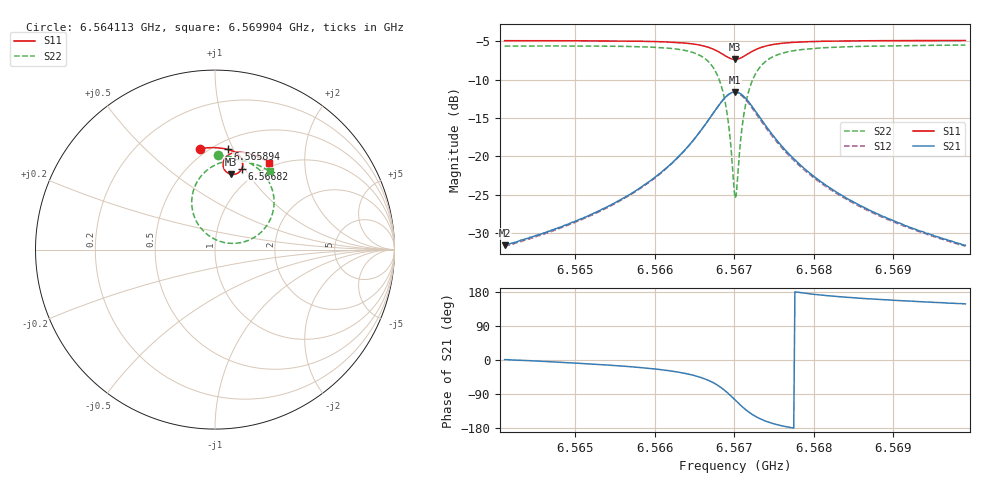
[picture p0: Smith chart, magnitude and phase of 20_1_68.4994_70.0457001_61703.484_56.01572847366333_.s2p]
#  HZ  S  RI  R  50.00
! Rohde & Schwarz Vector Network Analyzer
! Rohde-Schwarz,ZNB20-2Port,1311601062101988,3.16
! Created: UTC 3/20/2024, 5:04:38 PM
! freq[Hz]  re:S11  im:S11  re:S21  im:S21  re:S12  im:S12  re:S22  im:S22
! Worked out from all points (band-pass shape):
!   401 points, 6.564113 GHz to 6.569904 GHz, reference 50 ohm
!   highest |S21| = -11.59 dB at 6.567009 GHz (marker M1); lowest = -31.6 dB at 6.564113 GHz (marker M2)
!   |S21| within 3 dB of the highest: 6.56672 GHz to 6.567298 GHz (578.4 kHz wide, 0.00881 % of centre)
!   lowest |S11| = -7.4 dB at 6.567009 GHz (marker M3), VSWR 2.50, Z = 40.5 + j41.7 ohm
!   |S11| at or under -10 dB: nowhere
!   |S22| runs from -25.5 to -5.5 dB; largest |S21 - S12| = 0.012
!   S11 on the Smith chart (normalised r, x): 6.564113 GHz: 0.45, +0.76; 6.565894 GHz: 0.58, +0.95; 6.56682 GHz: 0.83, +0.97; 6.569904 GHz: 0.94, +1.34
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6.5641134e9  -0.0816 0.5631  0.0262 0.000439  0.0259 0.000209  0.0173 0.5246
6.5650833e9  -0.00315 0.568  0.0388 -0.00611  0.038 -0.00681  0.1063 0.5142
6.5658939e9  0.0699 0.5587  0.0617 -0.0242  0.0607 -0.0249  0.2034 0.4765
6.5660531e9  0.0862 0.5539  0.0694 -0.0321  0.0683 -0.033  0.2283 0.46
6.5663716e9  0.1214 0.5357  0.0893 -0.0624  0.0879 -0.0636  0.2865 0.4004
6.5665887e9  0.1458 0.5089  0.1025 -0.1089  0.1001 -0.1109  0.3249 0.3108
6.566719e9  0.1547 0.4808  0.0982 -0.1581  0.0945 -0.1608  0.3241 0.217
6.5668203e9  0.1497 0.4516  0.0725 -0.2084  0.0661 -0.2112  0.28 0.1223
6.5669072e9  0.1295 0.4276  0.0208 -0.2474  0.0115 -0.2481  0.1864 0.0516
6.5669361e9  0.119 0.4223  -0.00283 -0.2554  -0.0131 -0.2545  0.1437 0.0387
6.566994e9  0.0947 0.4187  -0.0559 -0.2569  -0.0663 -0.2526  0.0498 0.0398
6.5670085e9  0.0885 0.4198  -0.0692 -0.2541  -0.0794 -0.2489  0.0266 0.0463
6.5670375e9  0.0766 0.4238  -0.0945 -0.2445  -0.104 -0.2376  -0.0167 0.0662
6.5670954e9  0.0574 0.4386  -0.1358 -0.2126  -0.1425 -0.2033  -0.0843 0.1267
6.5671388e9  0.0488 0.4534  -0.1559 -0.183  -0.1601 -0.173  -0.1143 0.181
6.5671967e9  0.045 0.4736  -0.1687 -0.1432  -0.1699 -0.1334  -0.1293 0.2521
6.5672691e9  0.0488 0.4955  -0.1686 -0.1003  -0.1676 -0.0922  -0.121 0.3262
6.5675296e9  0.088 0.5343  -0.1262 -0.0218  -0.1236 -0.0182  -0.0252 0.4569
6.5679784e9  0.1465 0.5422  -0.0749 0.0081  -0.0732 0.0092  0.0954 0.4967
6.5684271e9  0.1905 0.534  -0.051 0.0132  -0.0498 0.0139  0.1663 0.4921
6.5689482e9  0.2338 0.5191  -0.0362 0.0144  -0.0355 0.0147  0.2245 0.4762
6.5699036e9  0.3028 0.484  -0.0223 0.0139  -0.0218 0.0139  0.3043 0.4371
